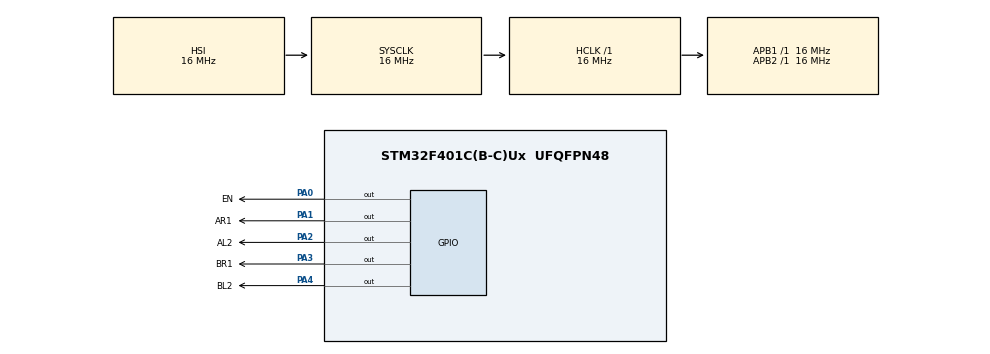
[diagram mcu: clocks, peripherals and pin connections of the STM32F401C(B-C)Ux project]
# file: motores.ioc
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Mcu.Family=STM32F4
Mcu.Name=STM32F401C(B-C)Ux
Mcu.Package=UFQFPN48
NVIC.PriorityGroup=NVIC_PRIORITYGROUP_4
PA0-WKUP.GPIO_Label=EN
PA0-WKUP.Signal=GPIO_Output
PA1.GPIO_Label=AR1
PA1.Signal=GPIO_Output
PA2.GPIO_Label=AL2
PA2.Signal=GPIO_Output
PA3.GPIO_Label=BR1
PA3.Signal=GPIO_Output
PA4.GPIO_Label=BL2
PA4.Signal=GPIO_Output
ProjectManager.HeapSize=0x200
ProjectManager.StackSize=0x400
ProjectManager.TargetToolchain=CMake
RCC.AHBFreq_Value=16000000
RCC.APB1Freq_Value=16000000
RCC.APB2Freq_Value=16000000
RCC.CortexFreq_Value=16000000
RCC.HSE_VALUE=25000000
RCC.HSI_VALUE=16000000
RCC.LSE_VALUE=32768
RCC.SYSCLKFreq_VALUE=16000000
RCC.VCOOutputFreq_Value=192000000
board=custom

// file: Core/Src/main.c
/* USER CODE BEGIN Header */
/**
  ******************************************************************************
  * @file           : main.c
  * @brief          : Main program body
  ******************************************************************************
  * @attention
  *
  * Copyright (c) 2026 STMicroelectronics.
  * All rights reserved.
  *
  * This software is licensed under terms that can be found in the LICENSE file
  * in the root directory of this software component.
  * If no LICENSE file comes with this software, it is provided AS-IS.
  *
  ******************************************************************************
  */
/* USER CODE END Header */
#include "main.h"

/* USER CODE BEGIN PD */
#define T_GIRO_90 430U
#define T_GIRO_120 (T_GIRO_90 * 120U / 90U)
#define T_GIRO_180 (T_GIRO_90 * 2U)
#define T_GIRO_60   286

/* USER CODE END PD */

void SystemClock_Config(void);
static void MX_GPIO_Init(void);

/* USER CODE BEGIN 0 */
void detener(uint16_t duracion){
  HAL_GPIO_WritePin(GPIOA, EN_Pin, GPIO_PIN_RESET);
  HAL_GPIO_WritePin(GPIOA, AR1_Pin, GPIO_PIN_RESET);
  HAL_GPIO_WritePin(GPIOA, AL2_Pin, GPIO_PIN_RESET);
  HAL_GPIO_WritePin(GPIOA, BR1_Pin, GPIO_PIN_RESET);
  HAL_GPIO_WritePin(GPIOA, BL2_Pin, GPIO_PIN_RESET);
  HAL_Delay(duracion);
}

void adelante(uint16_t duracion){
  HAL_GPIO_WritePin(GPIOA, EN_Pin, GPIO_PIN_SET);
  HAL_GPIO_WritePin(GPIOA, AR1_Pin, GPIO_PIN_SET);
  HAL_GPIO_WritePin(GPIOA, AL2_Pin, GPIO_PIN_RESET);
  HAL_GPIO_WritePin(GPIOA, BR1_Pin, GPIO_PIN_SET);
  HAL_GPIO_WritePin(GPIOA, BL2_Pin, GPIO_PIN_RESET);
  HAL_Delay(duracion);
}

void atras(uint16_t duracion){
  HAL_GPIO_WritePin(GPIOA, EN_Pin, GPIO_PIN_SET);
  HAL_GPIO_WritePin(GPIOA, AR1_Pin, GPIO_PIN_RESET);
  HAL_GPIO_WritePin(GPIOA, AL2_Pin, GPIO_PIN_SET);
  HAL_GPIO_WritePin(GPIOA, BR1_Pin, GPIO_PIN_RESET);
  HAL_GPIO_WritePin(GPIOA, BL2_Pin, GPIO_PIN_SET);
  HAL_Delay(duracion);
}

void derecha(uint16_t duracion){
  HAL_GPIO_WritePin(GPIOA, EN_Pin, GPIO_PIN_SET);
  HAL_GPIO_WritePin(GPIOA, AR1_Pin, GPIO_PIN_SET);
  HAL_GPIO_WritePin(GPIOA, AL2_Pin, GPIO_PIN_RESET);
  HAL_GPIO_WritePin(GPIOA, BR1_Pin, GPIO_PIN_RESET);
  HAL_GPIO_WritePin(GPIOA, BL2_Pin, GPIO_PIN_SET);
  HAL_Delay(duracion);
}

void izquierda(uint16_t duracion){
  HAL_GPIO_WritePin(GPIOA, EN_Pin, GPIO_PIN_SET);
  HAL_GPIO_WritePin(GPIOA, AR1_Pin, GPIO_PIN_RESET);
  HAL_GPIO_WritePin(GPIOA, AL2_Pin, GPIO_PIN_SET);
  HAL_GPIO_WritePin(GPIOA, BR1_Pin, GPIO_PIN_SET);
  HAL_GPIO_WritePin(GPIOA, BL2_Pin, GPIO_PIN_RESET);
  HAL_Delay(duracion);
}

//Triángulo
void triangulo(void){
  for(int i = 0; i < 3; i++){
    adelante(2000);
    detener(200);
    derecha(T_GIRO_120);
    detener(200);
  }
}

void cuadrado(void){
  for(int i = 0; i < 4; i++){
    adelante(2000);
    detener(200);
    derecha(T_GIRO_90);
    detener(200);
  }
}

void hexagono(void){
  for(int i = 0; i < 6; i++){
    adelante(1500);
    detener(200);
    derecha(T_GIRO_60);     // giro exterior de 60°
    detener(200);
  }
}
/* USER CODE END 0 */

int main(void)
{

  /* MCU Configuration--------------------------------------------------------*/

  /* Reset of all peripherals, Initializes the Flash interface and the Systick. */
  HAL_Init();

  /* Configure the system clock */
  SystemClock_Config();

  /* Initialize all configured peripherals */
  MX_GPIO_Init();

  /* Infinite loop */
  while (1)
  {
    hexagono();
    HAL_Delay(1000);
    triangulo();
    HAL_Delay(1000);
    cuadrado();
    HAL_Delay(1000);
    /* USER CODE BEGIN 3 */

    /* USER CODE BEGIN 3 */
  }
  /* USER CODE END 3 */
}

void SystemClock_Config(void)
{
  RCC_OscInitTypeDef RCC_OscInitStruct = {0};
  RCC_ClkInitTypeDef RCC_ClkInitStruct = {0};

  /** Configure the main internal regulator output voltage
  */
  __HAL_RCC_PWR_CLK_ENABLE();
  __HAL_PWR_VOLTAGESCALING_CONFIG(PWR_REGULATOR_VOLTAGE_SCALE2);

  /** Initializes the RCC Oscillators according to the specified parameters
  * in the RCC_OscInitTypeDef structure.
  */
  RCC_OscInitStruct.OscillatorType = RCC_OSCILLATORTYPE_HSI;
  RCC_OscInitStruct.HSIState = RCC_HSI_ON;
  RCC_OscInitStruct.HSICalibrationValue = RCC_HSICALIBRATION_DEFAULT;
  RCC_OscInitStruct.PLL.PLLState = RCC_PLL_NONE;
  if (HAL_RCC_OscConfig(&RCC_OscInitStruct) != HAL_OK)
  {
    Error_Handler();
  }

  /** Initializes the CPU, AHB and APB buses clocks
  */
  RCC_ClkInitStruct.ClockType = RCC_CLOCKTYPE_HCLK|RCC_CLOCKTYPE_SYSCLK
                              |RCC_CLOCKTYPE_PCLK1|RCC_CLOCKTYPE_PCLK2;
  RCC_ClkInitStruct.SYSCLKSource = RCC_SYSCLKSOURCE_HSI;
  RCC_ClkInitStruct.AHBCLKDivider = RCC_SYSCLK_DIV1;
  RCC_ClkInitStruct.APB1CLKDivider = RCC_HCLK_DIV1;
  RCC_ClkInitStruct.APB2CLKDivider = RCC_HCLK_DIV1;

  if (HAL_RCC_ClockConfig(&RCC_ClkInitStruct, FLASH_LATENCY_0) != HAL_OK)
  {
    Error_Handler();
  }
}

static void MX_GPIO_Init(void)
{
  GPIO_InitTypeDef GPIO_InitStruct = {0};

  /* GPIO Ports Clock Enable */
  __HAL_RCC_GPIOA_CLK_ENABLE();

  /*Configure GPIO pin Output Level */
  HAL_GPIO_WritePin(GPIOA, EN_Pin|AR1_Pin|AL2_Pin|BR1_Pin
                          |BL2_Pin, GPIO_PIN_RESET);

  /*Configure GPIO pins : EN_Pin AR1_Pin AL2_Pin BR1_Pin
                           BL2_Pin */
  GPIO_InitStruct.Pin = EN_Pin|AR1_Pin|AL2_Pin|BR1_Pin
                          |BL2_Pin;
  GPIO_InitStruct.Mode = GPIO_MODE_OUTPUT_PP;
  GPIO_InitStruct.Pull = GPIO_NOPULL;
  GPIO_InitStruct.Speed = GPIO_SPEED_FREQ_LOW;
  HAL_GPIO_Init(GPIOA, &GPIO_InitStruct);

}

void Error_Handler(void)
{
  __disable_irq();
  while (1)
  {
  }
}
